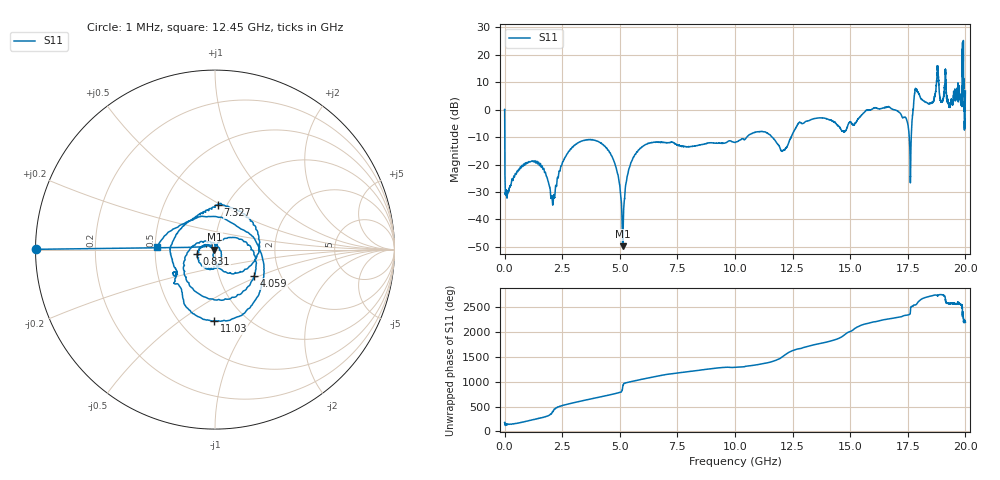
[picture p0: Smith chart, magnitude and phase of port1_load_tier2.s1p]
! Created with skrf 1.8.0 (http://scikit-rf.org).
# GHz S RI R 50.0
!freq ReS11 ImS11
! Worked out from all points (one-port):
!   10001 points, 1 MHz to 20 GHz, reference 50 ohm
!   lowest |S11| = -49.8 dB at 5.125 GHz (marker M1), VSWR 1.01, Z = 49.7 + j0.0543 ohm
!   |S11| at or under -10 dB: 7.935 MHz to 10.51 GHz (10.51 GHz wide, 200 % of centre); 11.61 GHz to 12.44 GHz (824.7 MHz wide, 6.86 % of centre); 17.56315 GHz to 17.64869 GHz (85.53 MHz wide, 0.486 % of centre) (the widest 3 of 5)
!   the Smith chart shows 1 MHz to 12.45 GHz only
!   S11 on the Smith chart (normalised r, x): 1 MHz: 0.00, +0.00; 831 MHz: 0.82, -0.04; 4.059 GHz: 1.47, -0.46; 7.327 GHz: 0.91, +0.48; 11.03 GHz: 0.72, -0.68; 12.45 GHz: 0.51, +0.01
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0.001  -0.9985 0.00153
0.8309585  -0.099 -0.0265
2.500875  -0.1 0.0365
4.058797  0.2184 -0.1458
5.00075  0.0164 0.038
5.124744  -0.00321 0.000546
7.326634  0.0159 0.2487
7.500625  -0.0235 0.2275
10.0005  -0.2179 -0.1285
11.03045  -0.0048 -0.3977
12.45438  -0.3271 0.00824
12.50038  -0.3578 -0.0474
13.9283  0.69 -0.0715
15.00025  -0.5118 -0.3249
15.73021  0.9662 0.2054
16.60617  -0.2083 1.109
17.50013  -0.5481 -0.0555
17.82411  2.066 1
18.0921  -1.233 0.9215
18.61607  -1.102 -0.9023
18.80206  -4.621 -3.346
18.94405  -0.7837 -1.124
19.02405  -0.995 -1.057
19.22204  0.737 1.339
19.77001  1.199 1.16
19.80201  1.143 0.6814
19.972  0.3708 0.4409
20  1.755 1.313
